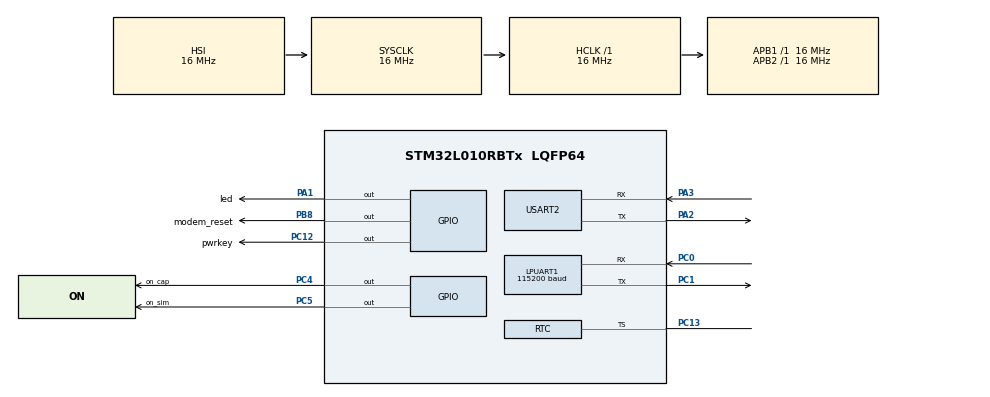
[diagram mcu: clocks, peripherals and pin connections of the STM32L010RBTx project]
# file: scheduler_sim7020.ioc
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ADC.LowPowerFrequencyMode=ENABLE
ADC.Resolution=ADC_RESOLUTION_12B
LPUART1.BaudRate=115200
LPUART1.WordLength=UART_WORDLENGTH_8B
Mcu.Family=STM32L0
Mcu.Name=STM32L010RBTx
Mcu.Package=LQFP64
NVIC.LPUART1_IRQn=true\:0\:0\:false\:false\:true\:true\:true
NVIC.RTC_IRQn=true\:0\:0\:false\:false\:true\:true\:true
NVIC.USART2_IRQn=true\:0\:0\:false\:false\:true\:true\:true
PA1.GPIO_Label=led
PA1.Signal=GPIO_Output
PA2.Mode=Asynchronous
PA2.Signal=USART2_TX
PA3.Mode=Asynchronous
PA3.Signal=USART2_RX
PB8.GPIO_Label=modem_reset
PB8.Signal=GPIO_Output
PC0.Mode=Asynchronous
PC0.Signal=LPUART1_RX
PC1.Mode=Asynchronous
PC1.Signal=LPUART1_TX
PC12.GPIO_Label=pwrkey
PC12.Signal=GPIO_Output
PC13.Mode=Timestamp enabled
PC13.Signal=RTC_TS
PC14-OSC32_IN.Mode=LSE-External-Oscillator
PC14-OSC32_IN.Signal=RCC_OSC32_IN
PC15-OSC32_OUT.Mode=LSE-External-Oscillator
PC15-OSC32_OUT.Signal=RCC_OSC32_OUT
PC4.GPIO_Label=on_cap
PC4.Signal=GPIO_Output
PC5.GPIO_Label=on_sim
PC5.Signal=GPIO_Output
ProjectManager.HeapSize=0x400
ProjectManager.StackSize=0x400
ProjectManager.TargetToolchain=EWARM V8.32
RCC.AHBFreq_Value=16000000
RCC.APB1Freq_Value=16000000
RCC.APB1TimFreq_Value=16000000
RCC.APB2Freq_Value=16000000
RCC.APB2TimFreq_Value=16000000
RCC.HCLKFreq_Value=16000000
RCC.HSE_VALUE=8000000
RCC.HSI16_VALUE=16000000
RCC.HSI_VALUE=16000000
RCC.LptimClockSelection=RCC_LPTIM1CLKSOURCE_LSE
RCC.Lpuart1ClockSelection=RCC_LPUART1CLKSOURCE_HSI
RCC.MSI_VALUE=2097000
RCC.RTCClockSelection=RCC_RTCCLKSOURCE_LSE
RCC.RTCClockSelectionVirtual=RCC_RTCCLKSOURCE_LSE
RCC.SYSCLKFreq_VALUE=16000000
RCC.SYSCLKSource=RCC_SYSCLKSOURCE_HSI
RCC.Usart2ClockSelection=RCC_USART2CLKSOURCE_HSI
RCC.VCOOutputFreq_Value=48000000
RTC.Alarm-Alarm\ A=RTC_ALARM_A
RTC.Format=RTC_FORMAT_BIN
RTC.Seconds_A-Alarm\ A=3
USART2.VirtualMode-Asynchronous=VM_ASYNC
VP_ADC_Vref_Input.Mode=IN-Vrefint
VP_LPTIM1_VS_LPTIM_counterModeInternalClock.Mode=Counts__internal_clock_event_00
VP_RTC_VS_RTC_Activate.Mode=RTC_Enabled
VP_RTC_VS_RTC_Alarm_A_Intern.Mode=Alarm A
VP_RTC_VS_RTC_Calendar.Mode=RTC_Calendar
board=custom

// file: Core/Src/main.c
/* USER CODE BEGIN Header */
/**
  ******************************************************************************
  * @file           : main.c
  * @brief          : Main program body
  ******************************************************************************
  * @attention
  *
  * <h2><center>&copy; Copyright (c) 2020 STMicroelectronics.
  * All rights reserved.</center></h2>
  *
  * This software component is licensed by ST under BSD 3-Clause license,
  * the "License"; You may not use this file except in compliance with the
  * License. You may obtain a copy of the License at:
  *                        opensource.org/licenses/BSD-3-Clause
  *
  ******************************************************************************
  */
/* USER CODE END Header */
#include "main.h"

/* USER CODE BEGIN Includes */
#include "uart_simple_protocol.h"
#include "schedule.h"
#include "wtimer.h"
#include "sim7020_phy.h"
#include "sim7020.h"
#include "json.h"
#include "sim7020_tcp.h"
#include "md5.h"
#include "clock.h"
#include "stm32l0xx_hal_rtc.h"
#include "adc.h"
#include "protocol.h"
#include <time.h>
#include <stdio.h>
/* USER CODE END Includes */

/* USER CODE BEGIN PM */
RTC_TimeTypeDef sTime = {0};
RTC_DateTypeDef sDate = {0};
RTC_AlarmTypeDef sAlarm = {0};
/* USER CODE END PM */

ADC_HandleTypeDef hadc;

LPTIM_HandleTypeDef hlptim1;

UART_HandleTypeDef hlpuart1;
UART_HandleTypeDef huart2;

RTC_HandleTypeDef hrtc;

/* USER CODE BEGIN PV */
struct wtimer_desc usp_desc;
/* USER CODE END PV */

void SystemClock_Config(void);
static void MX_GPIO_Init(void);
static void MX_LPTIM1_Init(void);
static void MX_LPUART1_UART_Init(void);
static void MX_USART2_UART_Init(void);
static void MX_RTC_Init(void);
static void MX_ADC_Init(void);
/* USER CODE BEGIN PFP */
void StartDefaultTask(struct wtimer_desc *desc);
/* USER CODE END PFP */

/* USER CODE BEGIN 0 */

struct wtimer_desc one_desc;
struct wtimer_desc clock_desc;

void deep_sleep(void)
{
    __disable_irq();
    HAL_PWR_EnterSTOPMode(PWR_LOWPOWERREGULATOR_ON, PWR_STOPENTRY_WFI);
    SystemClock_Config();
    __enable_irq();
}

void one(struct wtimer_desc *desc)
{
   clock_add_alarm(80, proto_send);
}

void HAL_RTC_AlarmAEventCallback(RTC_HandleTypeDef *hrtc)
{
  ScheduleTask(&one_desc, one, RELATIVE, MILLISECONDS(100));
  ScheduleTask(&clock_desc, clock_callback, RELATIVE, MILLISECONDS(100));
}

/* USER CODE END 0 */

int main(void)
{

  /* MCU Configuration--------------------------------------------------------*/

  /* Reset of all peripherals, Initializes the Flash interface and the Systick. */
  HAL_Init();

  /* Configure the system clock */
  SystemClock_Config();

  /* USER CODE BEGIN SysInit */
  HAL_DBGMCU_DisableDBGStopMode();
  HAL_DBGMCU_DisableDBGSleepMode();
  HAL_DBGMCU_DisableDBGStandbyMode();
  HAL_PWREx_EnableLowPowerRunMode();
  HAL_PWREx_EnableFastWakeUp();
  HAL_PWREx_EnableUltraLowPower();
  /* USER CODE END SysInit */

  /* Initialize all configured peripherals */
  MX_GPIO_Init();
  MX_LPTIM1_Init();
  Schedule_init();
  MX_LPUART1_UART_Init();
  MX_USART2_UART_Init();
  MX_RTC_Init();
  MX_ADC_Init();
  /* USER CODE BEGIN 2 */

  USP_Init(&hlpuart1);
  adc_init(&hadc);

  sim7020_phy_init(&huart2);

  //ScheduleTask(&usp_desc, StartUSPTask, RELATIVE, MILLISECONDS(10));
  /* USER CODE END 2 */

  /* Infinite loop */
  /* USER CODE BEGIN WHILE */
  while (1)
  {
    HAL_GPIO_TogglePin(led_GPIO_Port, led_Pin);
    wtimer_runcallbacks();
    //deep_sleep();
    /* USER CODE END WHILE */

  }
}

void SystemClock_Config(void)
{
  RCC_OscInitTypeDef RCC_OscInitStruct = {0};
  RCC_ClkInitTypeDef RCC_ClkInitStruct = {0};
  RCC_PeriphCLKInitTypeDef PeriphClkInit = {0};

  /** Configure the main internal regulator output voltage
  */
  __HAL_PWR_VOLTAGESCALING_CONFIG(PWR_REGULATOR_VOLTAGE_SCALE1);
  /** Configure LSE Drive Capability
  */
  HAL_PWR_EnableBkUpAccess();
  __HAL_RCC_LSEDRIVE_CONFIG(RCC_LSEDRIVE_LOW);
  /** Initializes the RCC Oscillators according to the specified parameters
  * in the RCC_OscInitTypeDef structure.
  */
  RCC_OscInitStruct.OscillatorType = RCC_OSCILLATORTYPE_HSI|RCC_OSCILLATORTYPE_LSE;
  RCC_OscInitStruct.LSEState = RCC_LSE_ON;
  RCC_OscInitStruct.HSIState = RCC_HSI_ON;
  RCC_OscInitStruct.HSICalibrationValue = RCC_HSICALIBRATION_DEFAULT;
  RCC_OscInitStruct.PLL.PLLState = RCC_PLL_NONE;
  if (HAL_RCC_OscConfig(&RCC_OscInitStruct) != HAL_OK)
  {
    Error_Handler();
  }
  /** Initializes the CPU, AHB and APB buses clocks
  */
  RCC_ClkInitStruct.ClockType = RCC_CLOCKTYPE_HCLK|RCC_CLOCKTYPE_SYSCLK
                              |RCC_CLOCKTYPE_PCLK1|RCC_CLOCKTYPE_PCLK2;
  RCC_ClkInitStruct.SYSCLKSource = RCC_SYSCLKSOURCE_HSI;
  RCC_ClkInitStruct.AHBCLKDivider = RCC_SYSCLK_DIV1;
  RCC_ClkInitStruct.APB1CLKDivider = RCC_HCLK_DIV1;
  RCC_ClkInitStruct.APB2CLKDivider = RCC_HCLK_DIV1;

  if (HAL_RCC_ClockConfig(&RCC_ClkInitStruct, FLASH_LATENCY_0) != HAL_OK)
  {
    Error_Handler();
  }
  PeriphClkInit.PeriphClockSelection = RCC_PERIPHCLK_USART2|RCC_PERIPHCLK_LPUART1
                              |RCC_PERIPHCLK_RTC|RCC_PERIPHCLK_LPTIM1;
  PeriphClkInit.Usart2ClockSelection = RCC_USART2CLKSOURCE_HSI;
  PeriphClkInit.Lpuart1ClockSelection = RCC_LPUART1CLKSOURCE_HSI;
  PeriphClkInit.RTCClockSelection = RCC_RTCCLKSOURCE_LSE;
  PeriphClkInit.LptimClockSelection = RCC_LPTIM1CLKSOURCE_LSE;

  if (HAL_RCCEx_PeriphCLKConfig(&PeriphClkInit) != HAL_OK)
  {
    Error_Handler();
  }
}

static void MX_ADC_Init(void)
{

  ADC_ChannelConfTypeDef sConfig = {0};

  /** Configure the global features of the ADC (Clock, Resolution, Data Alignment and number of conversion)
  */
  hadc.Instance = ADC1;
  hadc.Init.OversamplingMode = DISABLE;
  hadc.Init.ClockPrescaler = ADC_CLOCK_SYNC_PCLK_DIV1;
  hadc.Init.Resolution = ADC_RESOLUTION_12B;
  hadc.Init.SamplingTime = ADC_SAMPLETIME_1CYCLE_5;
  hadc.Init.ScanConvMode = ADC_SCAN_DIRECTION_FORWARD;
  hadc.Init.DataAlign = ADC_DATAALIGN_RIGHT;
  hadc.Init.ContinuousConvMode = DISABLE;
  hadc.Init.DiscontinuousConvMode = DISABLE;
  hadc.Init.ExternalTrigConvEdge = ADC_EXTERNALTRIGCONVEDGE_NONE;
  hadc.Init.ExternalTrigConv = ADC_SOFTWARE_START;
  hadc.Init.DMAContinuousRequests = DISABLE;
  hadc.Init.EOCSelection = ADC_EOC_SINGLE_CONV;
  hadc.Init.Overrun = ADC_OVR_DATA_PRESERVED;
  hadc.Init.LowPowerAutoWait = DISABLE;
  hadc.Init.LowPowerFrequencyMode = ENABLE;
  hadc.Init.LowPowerAutoPowerOff = DISABLE;
  if (HAL_ADC_Init(&hadc) != HAL_OK)
  {
    Error_Handler();
  }
  /** Configure for the selected ADC regular channel to be converted.
  */
  sConfig.Channel = ADC_CHANNEL_VREFINT;
  sConfig.Rank = ADC_RANK_CHANNEL_NUMBER;
  if (HAL_ADC_ConfigChannel(&hadc, &sConfig) != HAL_OK)
  {
    Error_Handler();
  }

}

static void MX_LPTIM1_Init(void)
{

  hlptim1.Instance = LPTIM1;
  hlptim1.Init.Clock.Source = LPTIM_CLOCKSOURCE_APBCLOCK_LPOSC;
  hlptim1.Init.Clock.Prescaler = LPTIM_PRESCALER_DIV1;
  hlptim1.Init.Trigger.Source = LPTIM_TRIGSOURCE_SOFTWARE;
  hlptim1.Init.OutputPolarity = LPTIM_OUTPUTPOLARITY_HIGH;
  hlptim1.Init.UpdateMode = LPTIM_UPDATE_IMMEDIATE;
  hlptim1.Init.CounterSource = LPTIM_COUNTERSOURCE_INTERNAL;
  if (HAL_LPTIM_Init(&hlptim1) != HAL_OK)
  {
    Error_Handler();
  }

}

static void MX_LPUART1_UART_Init(void)
{

  hlpuart1.Instance = LPUART1;
  hlpuart1.Init.BaudRate = 115200;
  hlpuart1.Init.WordLength = UART_WORDLENGTH_8B;
  hlpuart1.Init.StopBits = UART_STOPBITS_1;
  hlpuart1.Init.Parity = UART_PARITY_NONE;
  hlpuart1.Init.Mode = UART_MODE_TX_RX;
  hlpuart1.Init.HwFlowCtl = UART_HWCONTROL_NONE;
  hlpuart1.Init.OneBitSampling = UART_ONE_BIT_SAMPLE_DISABLE;
  hlpuart1.AdvancedInit.AdvFeatureInit = UART_ADVFEATURE_NO_INIT;
  if (HAL_UART_Init(&hlpuart1) != HAL_OK)
  {
    Error_Handler();
  }

}

static void MX_USART2_UART_Init(void)
{

  huart2.Instance = USART2;
  huart2.Init.BaudRate = 115200;
  huart2.Init.WordLength = UART_WORDLENGTH_8B;
  huart2.Init.StopBits = UART_STOPBITS_1;
  huart2.Init.Parity = UART_PARITY_NONE;
  huart2.Init.Mode = UART_MODE_TX_RX;
  huart2.Init.HwFlowCtl = UART_HWCONTROL_NONE;
  huart2.Init.OverSampling = UART_OVERSAMPLING_16;
  huart2.Init.OneBitSampling = UART_ONE_BIT_SAMPLE_DISABLE;
  huart2.AdvancedInit.AdvFeatureInit = UART_ADVFEATURE_NO_INIT;
  if (HAL_UART_Init(&huart2) != HAL_OK)
  {
    Error_Handler();
  }

}

static void MX_RTC_Init(void)
{

  /** Initialize RTC Only
  */
  hrtc.Instance = RTC;
  hrtc.Init.HourFormat = RTC_HOURFORMAT_24;
  hrtc.Init.AsynchPrediv = 127;
  hrtc.Init.SynchPrediv = 255;
  hrtc.Init.OutPut = RTC_OUTPUT_DISABLE;
  hrtc.Init.OutPutRemap = RTC_OUTPUT_REMAP_NONE;
  hrtc.Init.OutPutPolarity = RTC_OUTPUT_POLARITY_HIGH;
  hrtc.Init.OutPutType = RTC_OUTPUT_TYPE_OPENDRAIN;
  if (HAL_RTC_Init(&hrtc) != HAL_OK)
  {
    Error_Handler();
  }

  /** Initialize RTC and set the Time and Date
  */
  sTime.Hours = 0;
  sTime.Minutes = 0;
  sTime.Seconds = 0;
  sTime.DayLightSaving = RTC_DAYLIGHTSAVING_NONE;
  sTime.StoreOperation = RTC_STOREOPERATION_RESET;
  if (HAL_RTC_SetTime(&hrtc, &sTime, RTC_FORMAT_BIN) != HAL_OK)
  {
    Error_Handler();
  }
  sDate.WeekDay = RTC_WEEKDAY_MONDAY;
  sDate.Month = RTC_MONTH_JANUARY;
  sDate.Date = 1;
  sDate.Year = 0;

  if (HAL_RTC_SetDate(&hrtc, &sDate, RTC_FORMAT_BIN) != HAL_OK)
  {
    Error_Handler();
  }
  /** Enable the Alarm A
  */
  sAlarm.AlarmTime.Hours = 0;
  sAlarm.AlarmTime.Minutes = 0;
  sAlarm.AlarmTime.Seconds = 5;
  sAlarm.AlarmTime.SubSeconds = 0;
  sAlarm.AlarmTime.DayLightSaving = RTC_DAYLIGHTSAVING_NONE;
  sAlarm.AlarmTime.StoreOperation = RTC_STOREOPERATION_RESET;
  sAlarm.AlarmMask = RTC_ALARMMASK_NONE;
  sAlarm.AlarmSubSecondMask = RTC_ALARMSUBSECONDMASK_ALL;
  sAlarm.AlarmDateWeekDaySel = RTC_ALARMDATEWEEKDAYSEL_DATE;
  sAlarm.AlarmDateWeekDay = 1;
  sAlarm.Alarm = RTC_ALARM_A;
  if (HAL_RTC_SetAlarm_IT(&hrtc, &sAlarm, RTC_FORMAT_BIN) != HAL_OK)
  {
    Error_Handler();
  }
  /** Enable the TimeStamp
  */
  if (HAL_RTCEx_SetTimeStamp_IT(&hrtc, RTC_TIMESTAMPEDGE_RISING, RTC_TIMESTAMPPIN_DEFAULT) != HAL_OK)
  {
    Error_Handler();
  }
  /* USER CODE BEGIN RTC_Init 2 */
  clock_init(&hrtc, &sTime, &sDate, &sAlarm);
  /* USER CODE END RTC_Init 2 */

}

static void MX_GPIO_Init(void)
{
  GPIO_InitTypeDef GPIO_InitStruct = {0};

  /* GPIO Ports Clock Enable */
  __HAL_RCC_GPIOC_CLK_ENABLE();
  __HAL_RCC_GPIOA_CLK_ENABLE();
  __HAL_RCC_GPIOB_CLK_ENABLE();

  /*Configure GPIO pin Output Level */
  HAL_GPIO_WritePin(led_GPIO_Port, led_Pin, GPIO_PIN_RESET);

  /*Configure GPIO pin Output Level */
  HAL_GPIO_WritePin(GPIOC, on_cap_Pin|on_sim_Pin|pwrkey_Pin, GPIO_PIN_RESET);

  /*Configure GPIO pin Output Level */
  HAL_GPIO_WritePin(modem_reset_GPIO_Port, modem_reset_Pin, GPIO_PIN_RESET);

  /*Configure GPIO pin : led_Pin */
  GPIO_InitStruct.Pin = led_Pin;
  GPIO_InitStruct.Mode = GPIO_MODE_OUTPUT_PP;
  GPIO_InitStruct.Pull = GPIO_NOPULL;
  GPIO_InitStruct.Speed = GPIO_SPEED_FREQ_LOW;
  HAL_GPIO_Init(led_GPIO_Port, &GPIO_InitStruct);

  /*Configure GPIO pins : on_cap_Pin on_sim_Pin pwrkey_Pin */
  GPIO_InitStruct.Pin = on_cap_Pin|on_sim_Pin|pwrkey_Pin;
  GPIO_InitStruct.Mode = GPIO_MODE_OUTPUT_PP;
  GPIO_InitStruct.Pull = GPIO_NOPULL;
  GPIO_InitStruct.Speed = GPIO_SPEED_FREQ_LOW;
  HAL_GPIO_Init(GPIOC, &GPIO_InitStruct);

  /*Configure GPIO pin : modem_reset_Pin */
  GPIO_InitStruct.Pin = modem_reset_Pin;
  GPIO_InitStruct.Mode = GPIO_MODE_OUTPUT_PP;
  GPIO_InitStruct.Pull = GPIO_NOPULL;
  GPIO_InitStruct.Speed = GPIO_SPEED_FREQ_LOW;
  HAL_GPIO_Init(modem_reset_GPIO_Port, &GPIO_InitStruct);

}

void Error_Handler(void)
{
}

/************************ (C) COPYRIGHT STMicroelectronics *****END OF FILE****/
